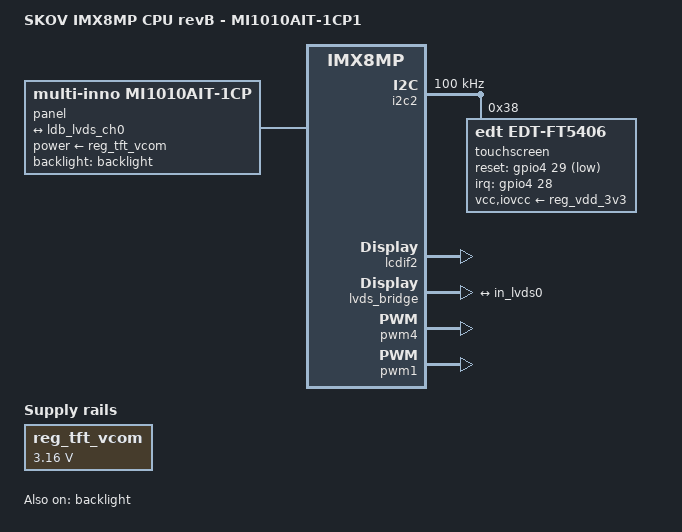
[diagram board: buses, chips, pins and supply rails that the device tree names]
// SPDX-License-Identifier: (GPL-2.0 OR MIT)

/dts-v1/;

#include "imx8mp-skov-reva.dtsi"

/ {
	model = "SKOV IMX8MP CPU revB - MI1010AIT-1CP1";
	compatible = "skov,imx8mp-skov-revb-mi1010ait-1cp1", "fsl,imx8mp";

	panel {
		compatible = "multi-inno,mi1010ait-1cp";
		backlight = <&backlight>;
		power-supply = <&reg_tft_vcom>;

		port {
			in_lvds0: endpoint {
				remote-endpoint = <&ldb_lvds_ch0>;
			};
		};
	};
};

&backlight {
	status = "okay";
};

&i2c2 {
	clock-frequency = <100000>;
	status = "okay";

	touchscreen@38 {
		compatible = "edt,edt-ft5406";
		reg = <0x38>;
		pinctrl-names = "default";
		pinctrl-0 = <&pinctrl_touchscreen>;
		interrupts-extended = <&gpio4 28 IRQ_TYPE_EDGE_FALLING>;
		reset-gpios = <&gpio4 29 GPIO_ACTIVE_LOW>;
		touchscreen-size-x = <1280>;
		touchscreen-size-y = <800>;
		vcc-supply = <&reg_vdd_3v3>;
		iovcc-supply = <&reg_vdd_3v3>;
		wakeup-source;
	};
};

&lcdif2 {
	status = "okay";
};

&lvds_bridge {
	assigned-clocks = <&clk IMX8MP_CLK_MEDIA_LDB>,
				 <&clk IMX8MP_VIDEO_PLL1>;
	assigned-clock-parents = <&clk IMX8MP_VIDEO_PLL1_OUT>;
	/* IMX8MP_VIDEO_PLL1 = IMX8MP_CLK_MEDIA_DISP2_PIX * 2 * 7 */
	assigned-clock-rates = <0>, <980000000>;
	status = "okay";

	ports {
		port@1 {
			ldb_lvds_ch0: endpoint {
				remote-endpoint = <&in_lvds0>;
			};
		};
	};
};

&pwm4 {
	status = "okay";
};

&pwm1 {
	status = "okay";
};

&reg_tft_vcom {
	regulator-min-microvolt = <3160000>;
	regulator-max-microvolt = <3160000>;
	voltage-table = <3160000 73>;
	status = "okay";
};
